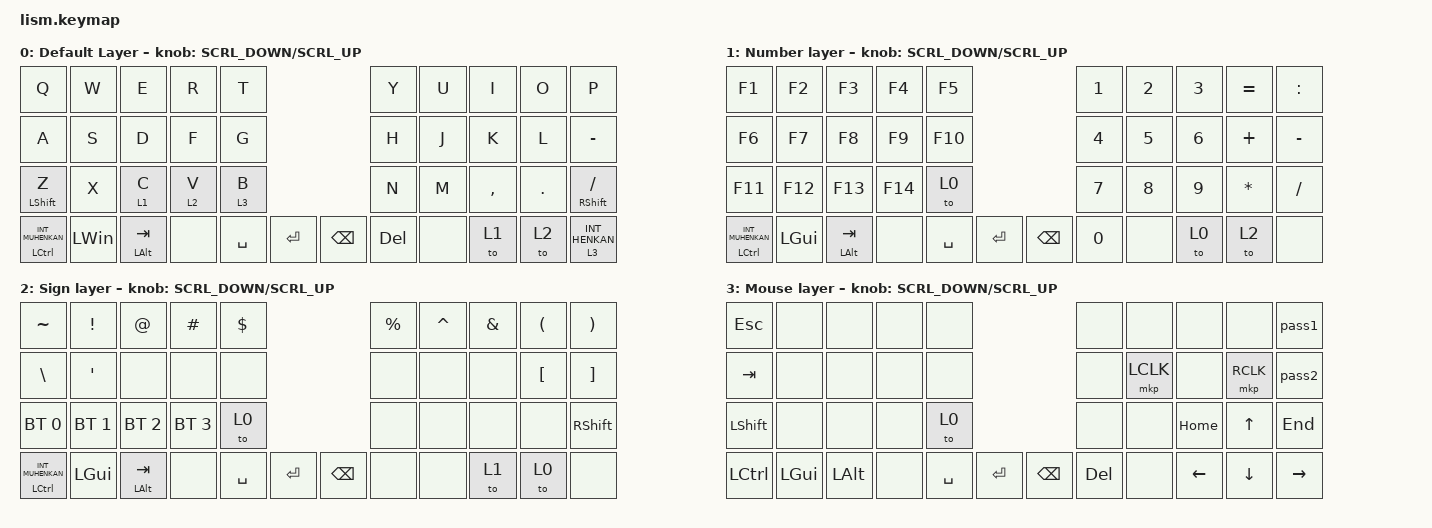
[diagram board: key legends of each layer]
#define ZMK_POINTING_DEFAULT_SCRL_VAL 200

#include <dt-bindings/zmk/mouse.h>
#include <behaviors.dtsi>
#include <dt-bindings/zmk/bt.h>
#include <dt-bindings/zmk/keys.h>
#include <dt-bindings/zmk/pointing.h>

&mt {
    tapping-term-ms = <300>;
    flavor = "balanced";
};

&lt { quick-tap-ms = <300>; };

/ {
    macros {
        pass1: pass {
            compatible = "zmk,behavior-macro";
            #binding-cells = <0>;
            bindings = <&kp I &kp LS(M) &kp K &kp Z &kp S &kp N3 &kp N1 &kp N0 &kp N4 &kp S &kp Z &kp K &kp LS(M) &kp I &kp AT>;
            label = "PASS";
        };

        pass2: pass2 {
            compatible = "zmk,behavior-macro";
            #binding-cells = <0>;
            bindings = <&kp I &kp LS(M) &kp K &kp Z &kp S &kp N3 &kp N1 &kp N0 &kp N4 &kp S &kp Z &kp K &kp LS(M) &kp I>;
            label = "PASS2";
        };
    };

    behaviors {
        encoder_msc: sensor_rotate_msc {
            compatible = "zmk,behavior-sensor-rotate-var";
            #sensor-binding-cells = <2>;
            bindings = <&msc>, <&msc>;

            tap-ms = <20>;
        };

        encoder_kp: sensor_rotate_kp {
            compatible = "zmk,behavior-sensor-rotate-var";
            #sensor-binding-cells = <2>;
            bindings = <&kp>, <&kp>;
        };
    };

    combos {
        compatible = "zmk,combos";

        delete {
            bindings = <&bt BT_CLR>;
            key-positions = <20 21 22 23 24>;
        };
    };

    keymap {
        compatible = "zmk,keymap";

        default_layer {
            display-name = "Default Layer";
            bindings = <
&kp Q                          &kp W         &kp E             &kp R    &kp T                                  &kp Y       &kp U  &kp I      &kp O    &kp P
&kp A                          &kp S         &kp D             &kp F    &kp G                                  &kp H       &kp J  &kp K      &kp L    &kp MINUS
&mt LSHIFT Z                   &kp X         &lt 1 C           &lt 2 V  &lt 3 B                                &kp N       &kp M  &kp COMMA  &kp DOT  &mt RIGHT_SHIFT SLASH
&mt LEFT_CONTROL INT_MUHENKAN  &kp LEFT_WIN  &mt LEFT_ALT TAB  &none    &kp SPACE  &kp ENTER    &kp BACKSPACE  &kp DELETE  &none  &to 1      &to 2    &lt 3 INT_HENKAN
            >;

            sensor-bindings = <&encoder_msc SCRL_DOWN SCRL_UP>;
        };

        layer_1 {
            display-name = "Number layer";
            bindings = <
&kp F1                         &kp F2    &kp F3            &kp F4   &kp F5                            &kp N1  &kp N2  &kp N3  &kp EQUAL     &kp COLON
&kp F6                         &kp F7    &kp F8            &kp F9   &kp F10                           &kp N4  &kp N5  &kp N6  &kp PLUS      &kp MINUS
&kp F11                        &kp F12   &kp F13           &kp F14  &to 0                             &kp N7  &kp N8  &kp N9  &kp ASTERISK  &kp SLASH
&mt LEFT_CONTROL INT_MUHENKAN  &kp LGUI  &mt LEFT_ALT TAB  &none    &kp SPACE  &kp ENTER    &kp BSPC  &kp N0  &none   &to 0   &to 2         &none
            >;

            sensor-bindings = <&encoder_msc SCRL_DOWN SCRL_UP>;
        };

        layer_2 {
            display-name = "Sign layer";
            bindings = <
&kp TILDE                      &kp EXCLAMATION  &kp AT_SIGN   &kp HASH      &kp DOLLAR                         &kp PERCENT  &kp CARET  &kp AMPERSAND  &kp LEFT_PARENTHESIS  &kp RIGHT_PARENTHESIS
&kp BSLH                       &kp APOS         &none         &none         &none                              &none        &none      &none          &kp LBKT              &kp RBKT
&bt BT_SEL 0                   &bt BT_SEL 1     &bt BT_SEL 2  &bt BT_SEL 3  &to 0                              &none        &none      &none          &none                 &kp RIGHT_SHIFT
&mt LEFT_CONTROL INT_MUHENKAN  &kp LGUI         &mt LALT TAB  &none         &kp SPACE   &kp ENTER    &kp BSPC  &none        &none      &to 1          &to 0                 &none
            >;

            sensor-bindings = <&encoder_msc SCRL_DOWN SCRL_UP>;
        };

        layer_3 {
            display-name = "Mouse layer";
            bindings = <
&kp ESC           &none     &none     &none  &none                                  &none       &none      &none     &none      &pass1
&kp TAB           &none     &none     &none  &none                                  &none       &mkp LCLK  &none     &mkp RCLK  &pass2
&kp LSHFT         &none     &none     &none  &to 0                                  &none       &none      &kp HOME  &kp UP     &kp END
&kp LEFT_CONTROL  &kp LGUI  &kp LALT  &none  &kp SPACE  &kp ENTER    &kp BACKSPACE  &kp DELETE  &none      &kp LEFT  &kp DOWN   &kp RIGHT
            >;

            sensor-bindings = <&encoder_msc SCRL_DOWN SCRL_UP>;
        };
    };
};
